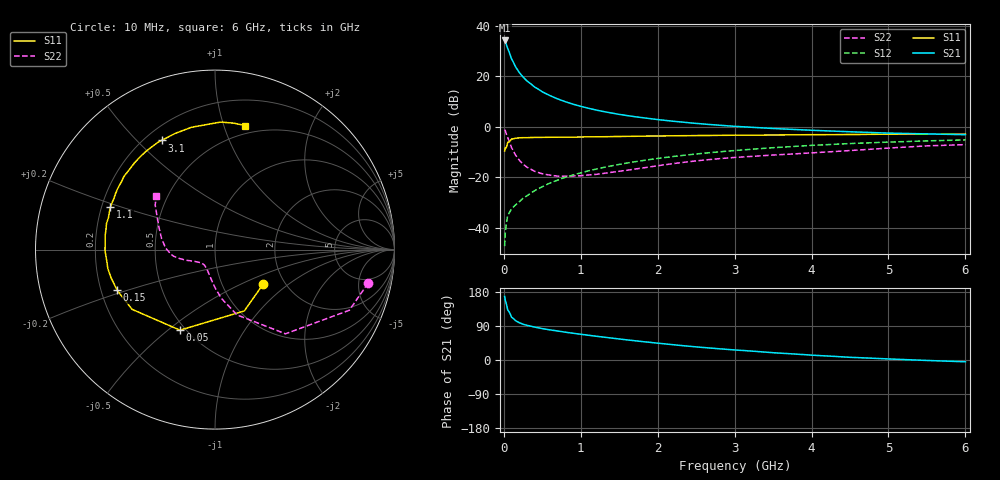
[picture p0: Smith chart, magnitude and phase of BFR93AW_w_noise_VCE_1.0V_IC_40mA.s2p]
! Infineon Technologies  Discrete & RF Semiconductors
! BFR93AW
! VCE =  1.0 V,  IC =  40 mA
! Common Emitter S-Parameters:  Jan 2017
# GHz  S  MA  R  50
!  f  S11  S21  S12  S22
! GHz  MAG  ANG  MAG  ANG  MAG  ANG  MAG  ANG
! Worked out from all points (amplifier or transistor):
!   77 points, 10 MHz to 6 GHz, reference 50 ohm
!   highest |S21| = 34.1 dB at 10 MHz (marker M1)
!   |S21| within 3 dB of that: start of sweep to 48.07 MHz
!   unconditionally stable (mu >= 1): 276.7 MHz to 3.791 GHz
!   at 130 MHz: K = 0.71, MSG = 28.4 dB, |S12| = -31.7 dB
!   at 2.2 GHz: K = 1.07, MAG = 5.4 dB, |S12| = -11.8 dB
!   at 6 GHz: K = 1.00, MSG = 1.0 dB, |S12| = -5.2 dB
!   lowest NFmin = 2.04 dB at 450 MHz
!   S11 on the Smith chart (normalised r, x): 10 MHz: 1.56, -0.67; 50 MHz: 0.47, -0.55; 150 MHz: 0.27, -0.19; 1.1 GHz: 0.24, +0.18; 3.1 GHz: 0.26, +0.59; 6 GHz: 0.42, +1.18
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0.01  0.3302 -35.7  50.91 167.7  0.0043 75.5  0.8736 -12.3
0.02  0.3788 -64.5  48.21 156.4  0.0085 73.3  0.8212 -24.3
0.05  0.4895 -113.5  35.41 132.1  0.0172 56.7  0.6116 -50.1
0.1  0.5693 -144.2  22.04 112.9  0.0233 53.9  0.3852 -71.2
0.15  0.5903 -157.4  15.51 104.0  0.028 53.8  0.2764 -82.2
0.2  0.5999 -164.7  11.87 98.5  0.0325 58.1  0.2175 -89.2
0.25  0.6063 -170.0  9.602 94.4  0.0382 60.3  0.1817 -94.5
0.3  0.6061 -173.8  8.042 91.5  0.0427 62.5  0.1574 -99.3
0.4  0.6128 -179.3  6.099 86.7  0.0539 65.7  0.1307 -106.9
0.5  0.6132 176.4  4.902 82.8  0.0647 66.9  0.1165 -113.3
0.6  0.6169 172.6  4.119 79.5  0.0765 68.4  0.1096 -119.1
0.7  0.6178 169.4  3.542 76.5  0.0874 69.1  0.1047 -123.5
0.9  0.6197 163.4  2.78 70.6  0.1105 68.4  0.1056 -131.9
1.1  0.6288 158.0  2.314 65.3  0.1336 67.7  0.1105 -138.2
1.3  0.6314 152.9  1.986 60.3  0.1561 66.2  0.1189 -144.0
1.5  0.6393 148.4  1.751 55.5  0.1788 64.5  0.1306 -149.7
2.1  0.6554 135.1  1.33 42.4  0.2455 58.2  0.1767 -161.0
2.6  0.6687 125.3  1.126 32.9  0.2976 52.5  0.2179 -168.2
3.1  0.6774 116.1  0.996 25.2  0.3456 46.7  0.251 -175.3
4.1  0.694 99.4  0.837 11.7  0.4328 34.9  0.3088 166.4
5.1  0.7109 86.2  0.74 2.0  0.5002 23.3  0.3842 148.0
6  0.7112 76.4  0.693 -4.7  0.5468 13.6  0.4408 137.7
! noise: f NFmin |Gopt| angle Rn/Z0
0.45  2.04  0.23  -180  0.16
0.9  2.33  0.29  -170  0.17
1.9  3.4  0.52  -133  0.35
2.4  4.1  0.57  -123  0.66
